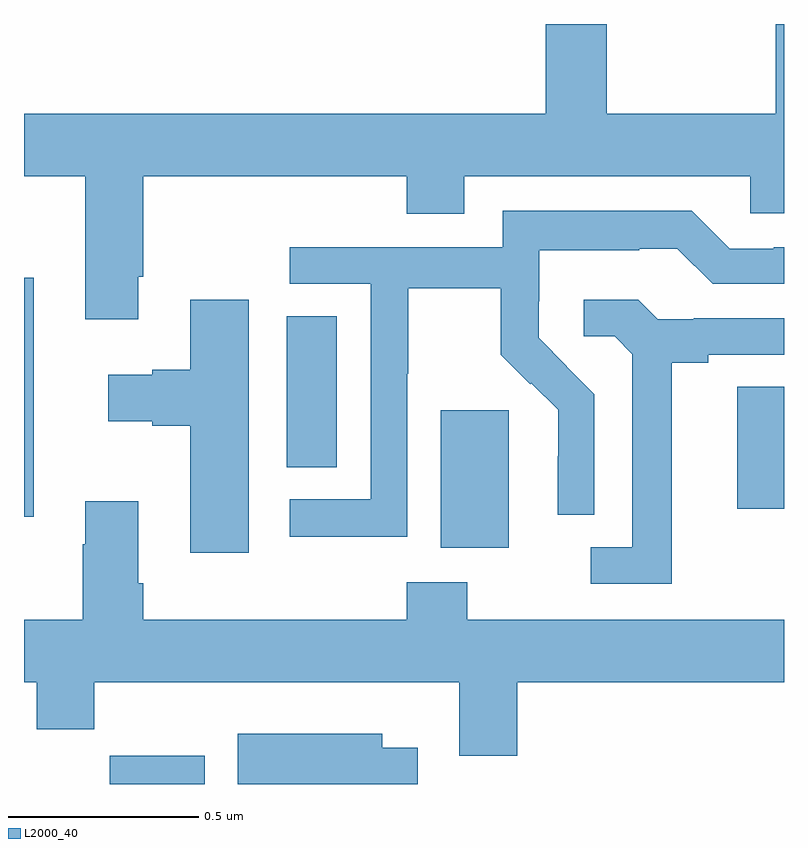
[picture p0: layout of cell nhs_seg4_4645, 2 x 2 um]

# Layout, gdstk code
import gdstk
lib = gdstk.Library(unit=1e-6, precision=1e-09)
def R(c, l, rs):  # rectangles x0, y0, x1, y1
    for r in rs: c.add(gdstk.rectangle(r[:2], r[2:], *l))
def P(c, l, *ps):  # polygons
    for p in ps: c.add(gdstk.Polygon(p, *l))
L2000_40 = (2000, 40)

nhs_seg4_4645 = lib.new_cell('nhs_seg4_4645')
R(nhs_seg4_4645, L2000_40, [(168.226,781.9,168.475,781.974), (169.097,782.522,169.276,782.883), (168,782.603,168.026,783.232), (169.877,782.625,170,782.945), (168.692,782.734,168.823,783.131)])
P(nhs_seg4_4645, L2000_40, [(168.301,783.235),(168.314,783.235),(168.314,783.5),(169.007,783.5),(169.007,783.401),(169.159,783.401),(169.159,783.5),(169.911,783.5),(169.911,783.402),(170,783.402),(170,783.9),(169.978,783.9),(169.978,783.664),(169.533,783.664),(169.533,783.9),(169.373,783.9),(169.373,783.664),(168,783.664),(168,783.5),(168.161,783.5),(168.161,783.123),(168.301,783.123)],
  [(169.008,782.98),(169.011,782.98),(169.011,783.204),(169.255,783.204),(169.255,783.029),(169.332,782.952),(169.335,782.955),(169.406,782.885),(169.406,782.762),(169.404,782.762),(169.404,782.608),(169.5,782.608),(169.5,782.926),(169.427,782.999),(169.428,783),(169.354,783.074),(169.354,783.171),(169.356,783.171),(169.356,783.305),(169.619,783.305),(169.619,783.309),(169.719,783.309),(169.812,783.216),(170,783.216),(170,783.312),(169.973,783.312),(169.973,783.309),(169.857,783.309),(169.757,783.409),(169.26,783.409),(169.26,783.312),(168.699,783.312),(168.699,783.216),(168.912,783.216),(168.912,782.649),(168.699,782.649),(168.699,782.551),(169.008,782.551)],
  [(168.592,783.175),(168.437,783.175),(168.437,782.99),(168.338,782.99),(168.338,782.977),(168.222,782.977),(168.222,782.855),(168.338,782.855),(168.338,782.843),(168.437,782.843),(168.437,782.508),(168.592,782.508)],
  [(169.705,783.008),(169.801,783.008),(169.801,783.03),(170,783.03),(170,783.126),(169.762,783.126),(169.762,783.123),(169.668,783.123),(169.616,783.175),(169.473,783.175),(169.473,783.078),(169.554,783.078),(169.601,783.031),(169.601,782.523),(169.491,782.523),(169.491,782.427),(169.705,782.427)],
  [(169.298,782.168),(170,782.168),(170,782.332),(169.167,782.332),(169.167,782.431),(169.007,782.431),(169.007,782.332),(168.314,782.332),(168.314,782.428),(168.301,782.428),(168.301,782.644),(168.161,782.644),(168.161,782.531),(168.154,782.531),(168.154,782.332),(168,782.332),(168,782.168),(168.034,782.168),(168.034,782.044),(168.185,782.044),(168.185,782.168),(169.145,782.168),(169.145,781.974),(169.298,781.974)],
  [(169.036,781.996),(168.943,781.996),(168.943,782.032),(168.563,782.032),(168.563,781.9),(169.036,781.9)])

lib.write_gds('nhs_seg4_4645.gds')
